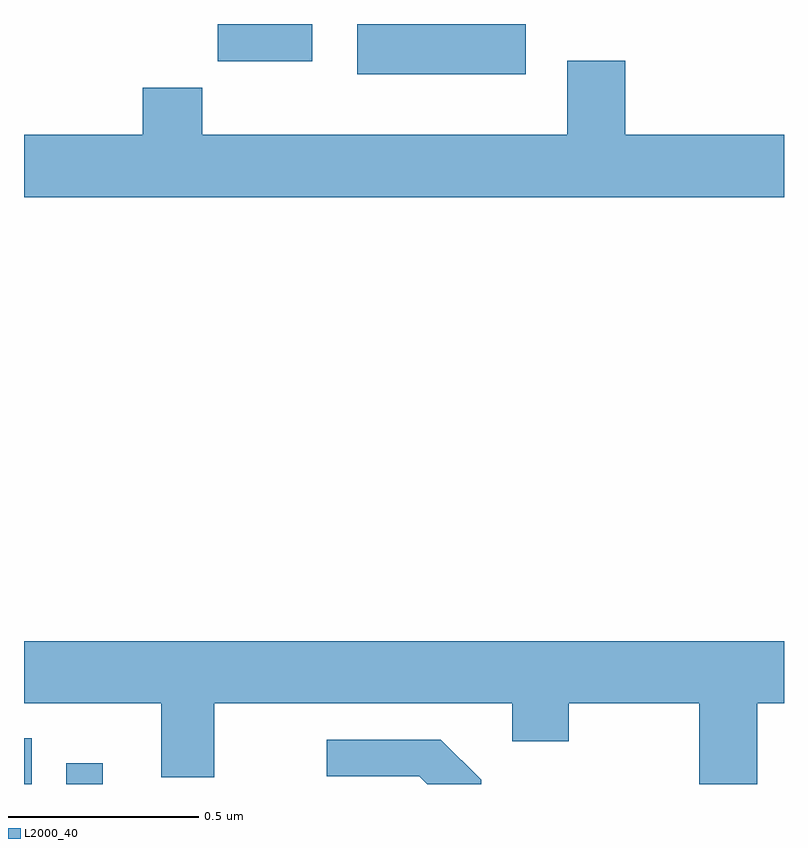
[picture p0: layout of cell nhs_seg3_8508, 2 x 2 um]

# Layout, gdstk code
import gdstk
lib = gdstk.Library(unit=1e-6, precision=1e-09)
def R(c, l, rs):  # rectangles x0, y0, x1, y1
    for r in rs: c.add(gdstk.rectangle(r[:2], r[2:], *l))
def P(c, l, *ps):  # polygons
    for p in ps: c.add(gdstk.Polygon(p, *l))
L2000_40 = (2000, 40)

nhs_seg3_8508 = lib.new_cell('nhs_seg3_8508')
R(nhs_seg3_8508, L2000_40, [(217,671.4,217.02,671.52), (217.111,671.4,217.207,671.455), (217.877,673.268,218.32,673.4), (217.51,673.302,217.759,673.4)])
P(nhs_seg3_8508, L2000_40, [(219,673.108),(218.582,673.108),(218.582,673.303),(218.429,673.303),(218.429,673.108),(217.469,673.108),(217.469,673.232),(217.313,673.232),(217.313,673.108),(217,673.108),(217,672.944),(219,672.944)],
  [(218.93,671.612),(219,671.612),(219,671.776),(217,671.776),(217,671.612),(217.361,671.612),(217.361,671.418),(217.501,671.418),(217.501,671.612),(218.285,671.612),(218.285,671.513),(218.433,671.513),(218.433,671.612),(218.777,671.612),(218.777,671.4),(218.93,671.4)],
  [(218.203,671.411),(218.097,671.517),(217.797,671.517),(217.797,671.421),(218.04,671.421),(218.061,671.4),(218.203,671.4)])

lib.write_gds('nhs_seg3_8508.gds')
